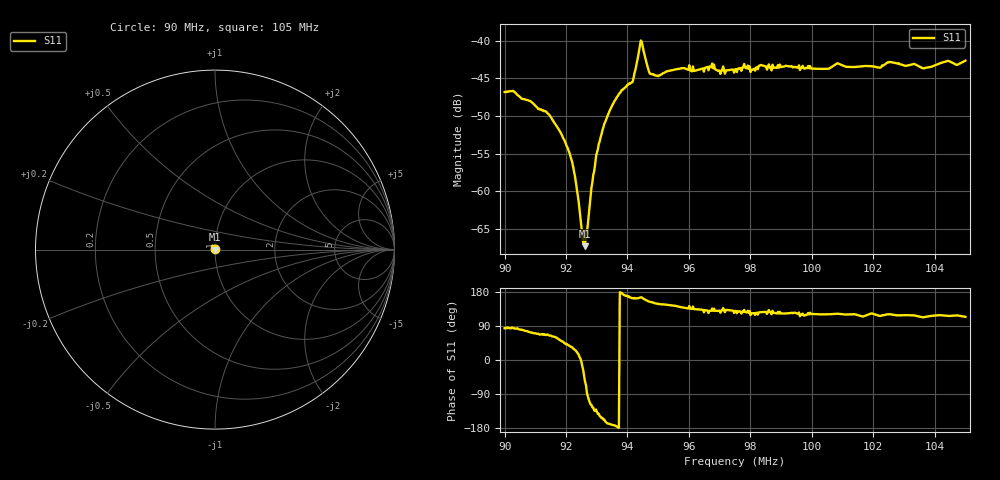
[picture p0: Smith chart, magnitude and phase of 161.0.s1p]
# HZ S RI R 50
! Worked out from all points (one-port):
!   505 points, 90 MHz to 105 MHz, reference 50 ohm
!   lowest |S11| = -67.3 dB at 92.62 MHz (marker M1), VSWR 1.00, Z = 50 - j0.0364 ohm
!   |S11| at or under -10 dB: start of sweep to end of sweep
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9e7  0.000496 0.00454
9.029762e7  0.000492 0.00459
9.136905e7  0.00138 0.00307
9.187501e7  0.00154 0.00176
9.223215e7  0.00125 0.000736
9.23512e7  0.000975 0.000375
9.252977e7  0.000499 -0.000147
9.261906e7  0.000232 -0.000364
9.267858e7  3.51e-05 -0.000531
9.288691e7  -0.000754 -0.00105
9.303572e7  -0.0015 -0.00117
9.330358e7  -0.00289 -0.000802
9.375001e7  -0.0045 8.12e-05
9.416668e7  -0.00511 0.00154
9.443454e7  -0.00974 0.00254
9.449406e7  -0.00878 0.00266
9.476192e7  -0.00535 0.00276
9.562502e7  -0.0051 0.00402
9.675597e7  -0.00506 0.00493
9.696431e7  -0.00407 0.00486
9.750002e7  -0.0041 0.00499
9.937503e7  -0.00367 0.00555
1.0125e8  -0.00339 0.00579
1.022024e8  -0.00297 0.00593
1.025298e8  -0.00373 0.00622
1.03125e8  -0.00324 0.00604
1.036608e8  -0.00255 0.00605
1.05e8  -0.00299 0.00676
